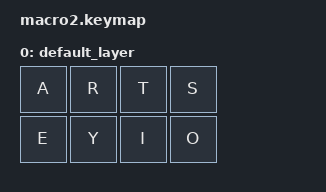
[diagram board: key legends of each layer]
#include <behaviors.dtsi>
#include <dt-bindings/zmk/keys.h>
#include <dt-bindings/zmk/bt.h>


/ {
    keymap {
        compatible = "zmk,keymap";

        default_layer {

            bindings = <

    &kp A &kp R &kp T &kp S
    &kp E &kp Y &kp I &kp O
   
            >;
            



        };


    };
};
